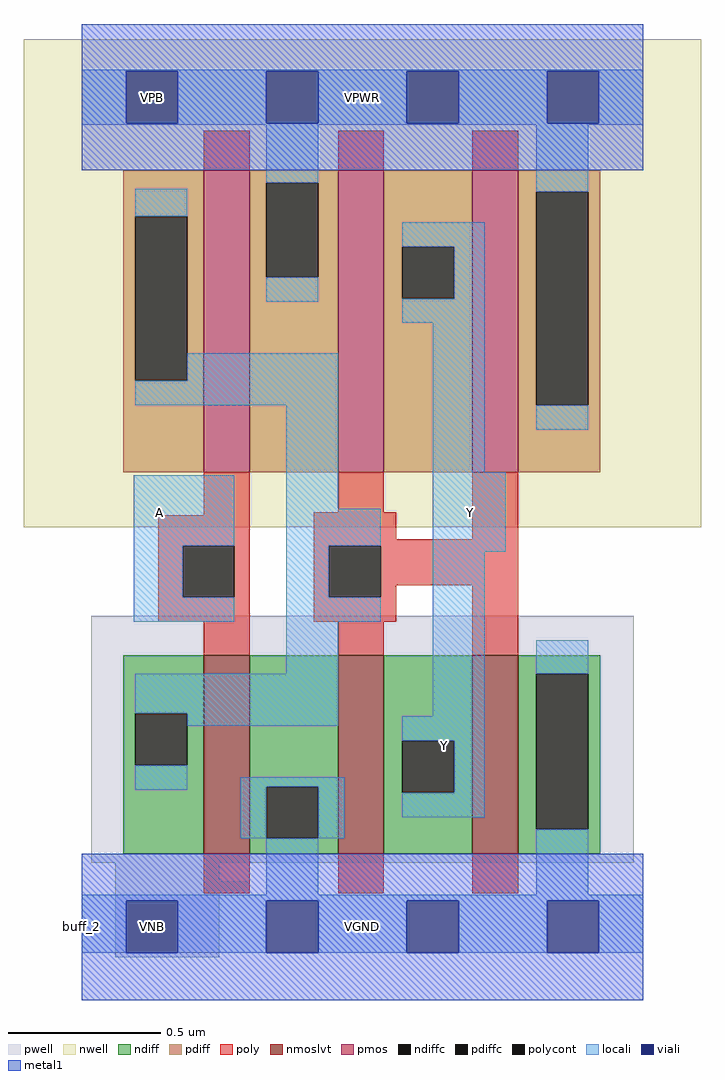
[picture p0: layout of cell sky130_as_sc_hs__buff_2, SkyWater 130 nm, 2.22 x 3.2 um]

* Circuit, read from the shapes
.subckt sky130_as_sc_hs__buff_2 VPB VPWR VGND VNB A Y
XM1 VGND A n1 VNB sky130_fd_pr__nfet_01v8_lvt w=0.65 l=0.15
XM2 Y n1 VGND VNB sky130_fd_pr__nfet_01v8_lvt w=0.65 l=0.15 m=2
XM3 VPWR A n1 VPB sky130_fd_pr__pfet_01v8 w=0.99 l=0.15
XM4 Y n1 VPWR VPB sky130_fd_pr__pfet_01v8 w=0.99 l=0.15 m=2
.ends

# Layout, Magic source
magic
tech sky130A
magscale 1 2
<< nwell >>
rect -38 262 406 582
<< pwell >>
rect 6 42 362 204
rect 22 30 90 42
rect 22 22 110 30
rect 22 -20 90 22
<< pmos >>
rect 80 298 110 496
rect 168 298 198 496
rect 256 298 286 496
<< nmoslvt >>
rect 80 48 110 178
rect 168 48 198 178
rect 256 48 286 178
<< ndiff >>
rect 27 140 80 178
rect 27 106 35 140
rect 69 106 80 140
rect 27 48 80 106
rect 110 92 168 178
rect 110 58 121 92
rect 155 58 168 92
rect 110 48 168 58
rect 198 122 256 178
rect 198 88 210 122
rect 244 88 256 122
rect 198 48 256 88
rect 286 166 340 178
rect 286 64 298 166
rect 332 64 340 166
rect 286 48 340 64
<< pdiff >>
rect 27 466 80 496
rect 27 358 35 466
rect 69 358 80 466
rect 27 298 80 358
rect 110 488 168 496
rect 110 426 121 488
rect 155 426 168 488
rect 110 298 168 426
rect 198 446 256 496
rect 198 412 210 446
rect 244 412 256 446
rect 198 298 256 412
rect 286 482 340 496
rect 286 342 298 482
rect 332 342 340 482
rect 286 298 340 342
<< ndiffc >>
rect 35 106 69 140
rect 121 58 155 92
rect 210 88 244 122
rect 298 64 332 166
<< pdiffc >>
rect 35 358 69 466
rect 121 426 155 488
rect 210 412 244 446
rect 298 342 332 482
<< poly >>
rect 80 496 110 522
rect 168 496 198 522
rect 256 496 286 522
rect 80 270 110 298
rect 168 272 198 298
rect 50 250 110 270
rect 50 216 66 250
rect 100 216 110 250
rect 50 200 110 216
rect 152 254 206 272
rect 256 254 286 298
rect 152 250 286 254
rect 152 216 162 250
rect 196 224 286 250
rect 196 216 206 224
rect 152 200 206 216
rect 80 178 110 200
rect 168 178 198 200
rect 256 178 286 224
rect 80 22 110 48
rect 168 22 198 48
rect 256 22 286 48
<< polycont >>
rect 66 216 100 250
rect 162 216 196 250
<< locali >>
rect 0 561 368 562
rect 0 527 29 561
rect 63 527 121 561
rect 155 527 213 561
rect 247 527 305 561
rect 339 527 368 561
rect 0 526 368 527
rect 121 488 155 526
rect 35 466 69 484
rect 298 482 332 526
rect 121 410 155 426
rect 210 446 264 462
rect 244 412 264 446
rect 210 396 264 412
rect 69 358 168 376
rect 35 342 168 358
rect 34 250 100 296
rect 34 216 66 250
rect 34 200 100 216
rect 134 274 168 342
rect 230 298 264 396
rect 298 326 332 342
rect 134 250 196 274
rect 134 216 162 250
rect 134 200 196 216
rect 230 246 278 298
rect 134 166 168 200
rect 35 140 168 166
rect 69 132 168 140
rect 230 138 264 246
rect 35 90 69 106
rect 210 122 264 138
rect 104 92 172 98
rect 104 58 121 92
rect 155 58 172 92
rect 244 88 264 122
rect 210 72 264 88
rect 298 166 332 188
rect 121 21 155 58
rect 298 21 332 64
rect 0 17 368 21
rect 0 -17 29 17
rect 63 -17 121 17
rect 155 -17 213 17
rect 247 -17 305 17
rect 339 -17 368 17
<< viali >>
rect 29 527 63 561
rect 121 527 155 561
rect 213 527 247 561
rect 305 527 339 561
rect 29 -17 63 17
rect 121 -17 155 17
rect 213 -17 247 17
rect 305 -17 339 17
<< metal1 >>
rect 0 561 368 592
rect 0 527 29 561
rect 63 527 121 561
rect 155 527 213 561
rect 247 527 305 561
rect 339 527 368 561
rect 0 496 368 527
rect 0 17 368 48
rect 0 -17 29 17
rect 63 -17 121 17
rect 155 -17 213 17
rect 247 -17 305 17
rect 339 -17 368 17
rect 0 -48 368 -17
<< labels >>
rlabel comment s 0 0 0 0 4 buff_2
flabel pwell s 29 -17 63 17 0 FreeSans 200 0 0 0 VNB
port 4 nsew ground bidirectional
flabel pwell s 46 0 46 0 0 FreeSans 200 0 0 0 VNB
flabel nwell s 29 527 63 561 0 FreeSans 200 0 0 0 VPB
port 1 nsew power bidirectional
flabel nwell s 46 544 46 544 0 FreeSans 200 0 0 0 VPB
flabel metal1 s 29 527 63 561 0 FreeSans 200 0 0 0 VPWR
port 2 nsew power bidirectional abutment
flabel metal1 s 29 -17 63 17 0 FreeSans 200 0 0 0 VGND
port 3 nsew ground bidirectional abutment
rlabel metal1 s 0 -48 368 48 1 VGND
port 3 nsew ground bidirectional abutment
rlabel metal1 s 0 496 368 592 1 VPWR
port 2 nsew power bidirectional abutment
flabel locali s 34 255 68 289 0 FreeSans 200 0 0 0 A
port 5 nsew signal input
flabel locali s 51 272 51 272 0 FreeSans 200 0 0 0 A
flabel locali s 238 255 272 289 0 FreeSans 200 0 0 0 Y
port 6 nsew signal output
flabel locali s 255 272 255 272 0 FreeSans 200 0 0 0 Y
flabel locali s 221 102 255 136 0 FreeSans 200 0 0 0 Y
port 6 nsew signal output
flabel locali s 238 119 238 119 0 FreeSans 200 0 0 0 Y
<< properties >>
string FIXED_BBOX 0 0 368 544
string GDS_FILE $PDKPATH/libs.ref/sky130_as_sc_hs/gds/sky130_as_sc_hs__buff_2.gds
string LEFclass CORE
string LEFsite unithd
string LEFsymmetry X Y R90
string MASKHINTS_LVTN 0 -4 368 216
string MASKHINTS_NSDM 0 -38 368 204
string MASKHINTS_PSDM 0 272 368 582
<< end >>
